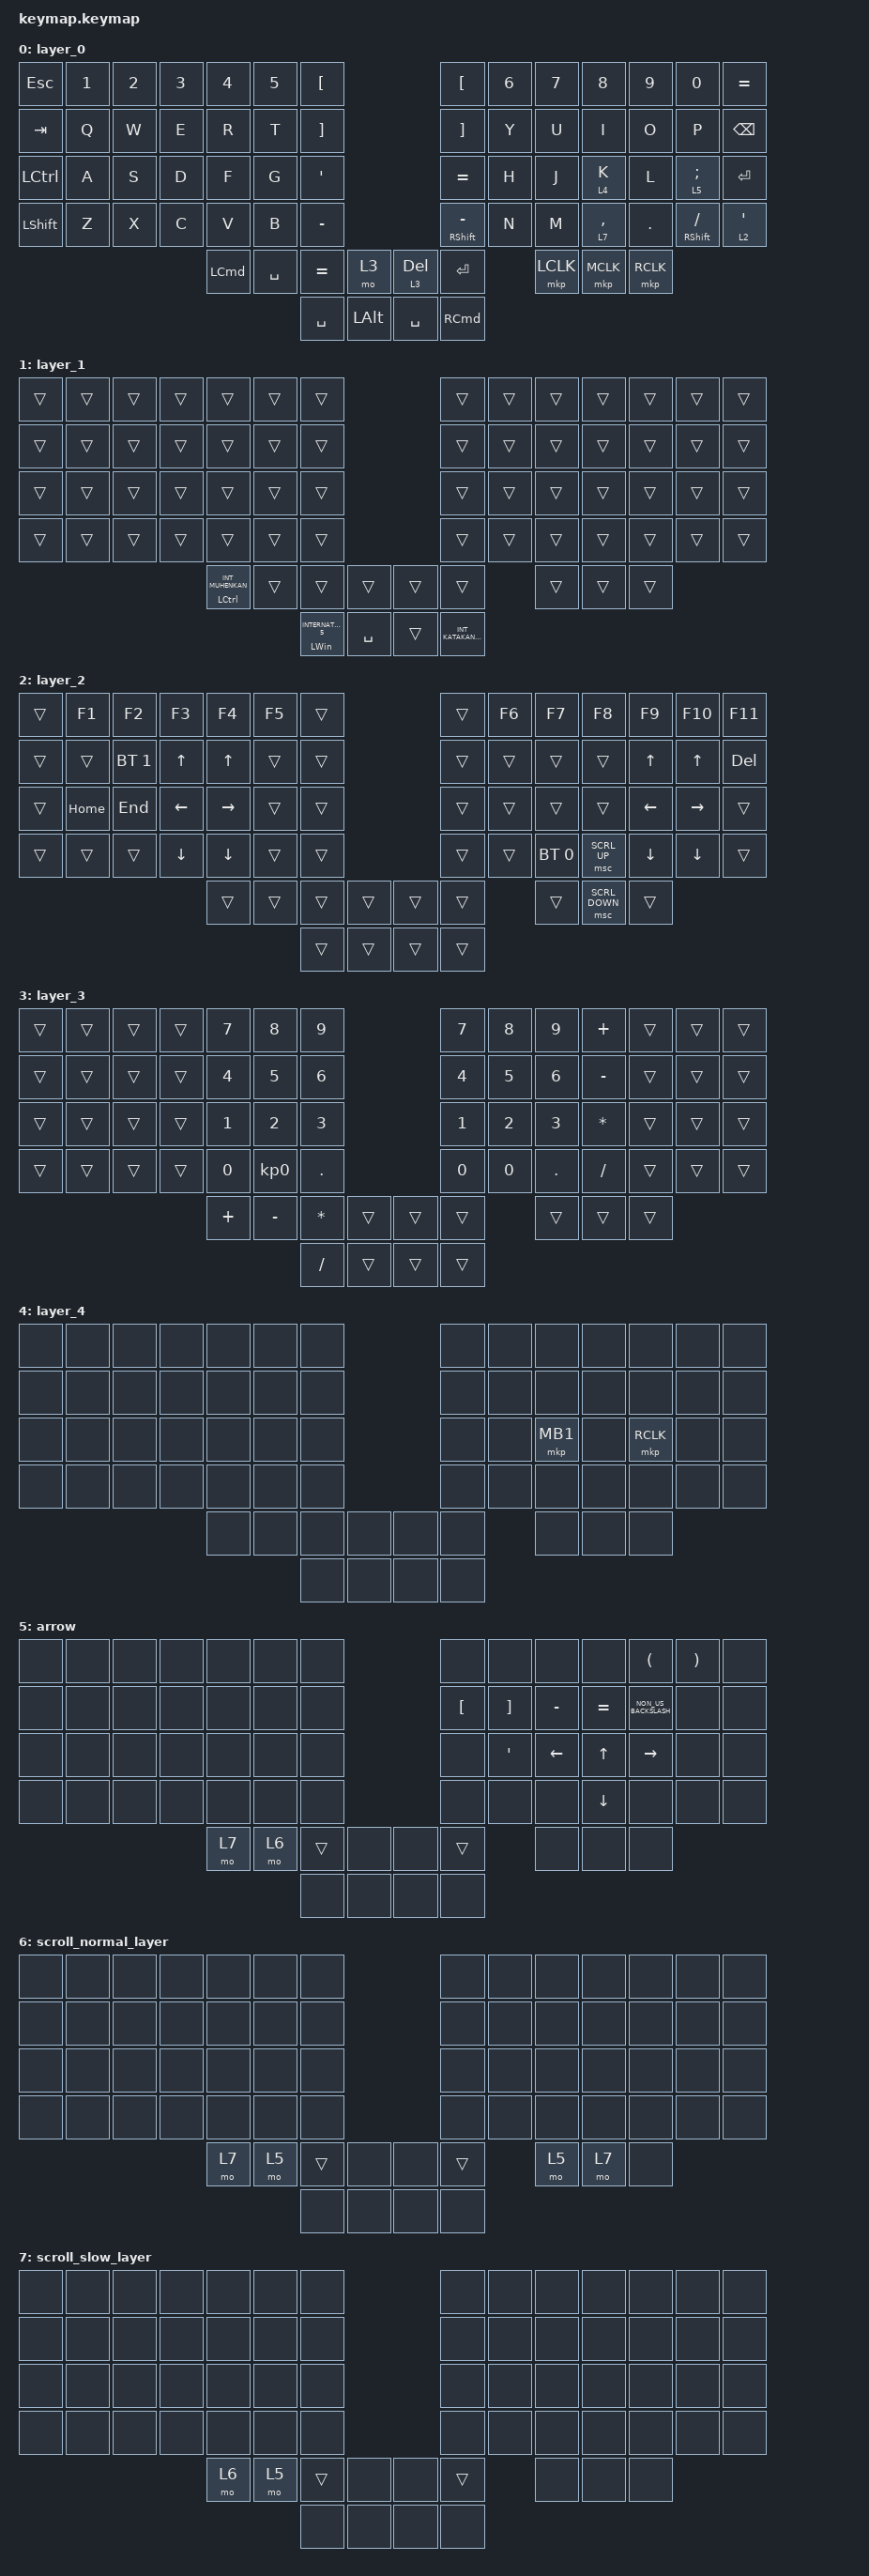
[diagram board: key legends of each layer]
#define ZMK_POINTING_DEFAULT_MOVE_VAL 800
#define ZMK_POINTING_DEFAULT_SCRL_VAL 120

#include <input/processors.dtsi>
#include <zephyr/dt-bindings/input/input-event-codes.h>
#include <behaviors.dtsi>
#include <dt-bindings/zmk/bt.h>
#include <dt-bindings/zmk/keys.h>
#include <dt-bindings/zmk/pointing.h>

#define SCROLL_FAST 5
#define SCROLL_NORMAL 6
#define SCROLL_SLOW 7

&mmv {
    delay-ms = <0>;
    trigger-period-ms = <10>;
    time-to-max-speed-ms = <0>;
    acceleration-exponent = <1>;
};

&msc {
    delay-ms = <0>;
    trigger-period-ms = <10>;
    time-to-max-speed-ms = <0>;
    acceleration-exponent = <0>;
};

/ {
    input_processors {
        zip_wheel_scaler: zip_wheel_scaler {
            compatible = "zmk,input-processor-scaler";
            #input-processor-cells = <2>;
            type = <INPUT_EV_REL>;
            codes = <INPUT_REL_WHEEL>;
            track-remainders;
        };

        zip_hwheel_scaler: zip_hwheel_scaler {
            compatible = "zmk,input-processor-scaler";
            #input-processor-cells = <2>;
            type = <INPUT_EV_REL>;
            codes = <INPUT_REL_HWHEEL>;
            track-remainders;
        };

        zip_wheel_scaler_normal: zip_wheel_scaler_normal {
            compatible = "zmk,input-processor-scaler";
            #input-processor-cells = <2>;
            type = <INPUT_EV_REL>;
            codes = <INPUT_REL_WHEEL>;
            track-remainders;
        };

        zip_hwheel_scaler_normal: zip_hwheel_scaler_normal {
            compatible = "zmk,input-processor-scaler";
            #input-processor-cells = <2>;
            type = <INPUT_EV_REL>;
            codes = <INPUT_REL_HWHEEL>;
            track-remainders;
        };

        zip_wheel_scaler_slow: zip_wheel_scaler_slow {
            compatible = "zmk,input-processor-scaler";
            #input-processor-cells = <2>;
            type = <INPUT_EV_REL>;
            codes = <INPUT_REL_WHEEL>;
            track-remainders;
        };

        zip_hwheel_scaler_slow: zip_hwheel_scaler_slow {
            compatible = "zmk,input-processor-scaler";
            #input-processor-cells = <2>;
            type = <INPUT_EV_REL>;
            codes = <INPUT_REL_HWHEEL>;
            track-remainders;
        };
    };

    behaviors {
        mouse_scrl: mouse_wheel_scrl {
            compatible = "zmk,behavior-sensor-rotate-var";
            #sensor-binding-cells = <2>;
            bindings = <&msc>, <&msc>;

            tap-ms = <10>;
        };
    };

    combos {
        compatible = "zmk,combos";

        Windows {
            bindings = <&to 1>;
            key-positions = <42 16>;
            layers = <0 1>;
        };

        Mac {
            bindings = <&to 0>;
            key-positions = <42 51>;
        };
    };

    keymap {
        compatible = "zmk,keymap";

        layer_0 {
            bindings = <
&kp ESCAPE      &kp NUMBER_1  &kp NUMBER_2  &kp NUMBER_3  &kp NUMBER_4      &kp N5     &kp LEFT_BRACKET                               &kp LEFT_BRACKET       &kp NUMBER_6  &kp N7     &kp N8       &kp N9      &kp N0                 &kp EQUAL
&kp TAB         &kp Q         &kp W         &kp E         &kp R             &kp T      &kp RIGHT_BRACKET                              &kp RIGHT_BRACKET      &kp Y         &kp U      &kp I        &kp O       &kp P                  &kp BACKSPACE
&kp LCTRL       &kp A         &kp S         &kp D         &kp F             &kp G      &kp SQT                                        &kp EQUAL              &kp H         &kp J      &lt 4 K      &kp L       &lt 5 SEMICOLON        &kp ENTER
&kp LEFT_SHIFT  &kp Z         &kp X         &kp C         &kp V             &kp B      &kp MINUS                                      &mt RIGHT_SHIFT MINUS  &kp N         &kp M      &lt 7 COMMA  &kp PERIOD  &mt RIGHT_SHIFT SLASH  &lt 2 SQT
                                                          &kp LEFT_COMMAND  &kp SPACE  &kp EQUAL          &mo 3         &lt 3 DELETE  &kp ENTER                            &mkp LCLK  &mkp MCLK    &mkp RCLK
                                                                                       &kp SPACE          &kp LEFT_ALT  &kp SPACE     &kp RIGHT_COMMAND
            >;
        };

        layer_1 {
            bindings = <
&trans  &trans  &trans  &trans  &trans                  &trans  &trans                                           &trans                    &trans  &trans  &trans  &trans  &trans  &trans
&trans  &trans  &trans  &trans  &trans                  &trans  &trans                                           &trans                    &trans  &trans  &trans  &trans  &trans  &trans
&trans  &trans  &trans  &trans  &trans                  &trans  &trans                                           &trans                    &trans  &trans  &trans  &trans  &trans  &trans
&trans  &trans  &trans  &trans  &trans                  &trans  &trans                                           &trans                    &trans  &trans  &trans  &trans  &trans  &trans
                                &mt LCTRL INT_MUHENKAN  &trans  &trans                        &trans     &trans  &trans                            &trans  &trans  &trans
                                                                &mt LEFT_WIN INTERNATIONAL_5  &kp SPACE  &trans  &kp INT_KATAKANAHIRAGANA
            >;
        };

        layer_2 {
            bindings = <
&trans  &kp F1    &kp F2        &kp F3          &kp F4           &kp F5  &trans                  &trans  &kp F6  &kp F7        &kp F8          &kp F9          &kp F10          &kp F11
&trans  &trans    &bt BT_SEL 1  &kp UP_ARROW    &kp UP_ARROW     &trans  &trans                  &trans  &trans  &trans        &trans          &kp UP_ARROW    &kp UP_ARROW     &kp DELETE
&trans  &kp HOME  &kp END       &kp LEFT_ARROW  &kp RIGHT_ARROW  &trans  &trans                  &trans  &trans  &trans        &trans          &kp LEFT_ARROW  &kp RIGHT_ARROW  &trans
&trans  &trans    &trans        &kp DOWN_ARROW  &kp DOWN_ARROW   &trans  &trans                  &trans  &trans  &bt BT_SEL 0  &msc SCRL_UP    &kp DOWN_ARROW  &kp DOWN_ARROW   &trans
                                                &trans           &trans  &trans  &trans  &trans  &trans          &trans        &msc SCRL_DOWN  &trans
                                                                         &trans  &trans  &trans  &trans
            >;
        };

        layer_3 {
            bindings = <
&trans  &trans  &trans  &trans  &kp N7        &kp N8           &kp N9                        &kp N7        &kp N8        &kp N9        &kp PLUS      &trans  &trans  &trans
&trans  &trans  &trans  &trans  &kp NUMBER_4  &kp N5           &kp NUMBER_6                  &kp NUMBER_4  &kp N5        &kp NUMBER_6  &kp MINUS     &trans  &trans  &trans
&trans  &trans  &trans  &trans  &kp NUMBER_1  &kp NUMBER_2     &kp NUMBER_3                  &kp NUMBER_1  &kp NUMBER_2  &kp NUMBER_3  &kp ASTERISK  &trans  &trans  &trans
&trans  &trans  &trans  &trans  &kp N0        &kp KP_NUMBER_0  &kp PERIOD                    &kp N0        &kp N0        &kp PERIOD    &kp SLASH     &trans  &trans  &trans
                                &kp PLUS      &kp MINUS        &kp STAR      &trans  &trans  &trans                      &trans        &trans        &trans
                                                               &kp SLASH     &trans  &trans  &trans
            >;
        };

        layer_4 {
            bindings = <
&none  &none  &none  &none  &none  &none  &none                &none  &none  &none     &none  &none      &none  &none
&none  &none  &none  &none  &none  &none  &none                &none  &none  &none     &none  &none      &none  &none
&none  &none  &none  &none  &none  &none  &none                &none  &none  &mkp MB1  &none  &mkp RCLK  &none  &none
&none  &none  &none  &none  &none  &none  &none                &none  &none  &none     &none  &none      &none  &none
                            &none  &none  &none  &none  &none  &none         &none     &none  &none
                                          &none  &none  &none  &none
            >;
        };

        arrow {
            bindings = <
&none  &none  &none  &none  &none  &none  &none                 &none             &none              &none           &none           &kp LEFT_PARENTHESIS  &kp RIGHT_PARENTHESIS  &none
&none  &none  &none  &none  &none  &none  &none                 &kp LEFT_BRACKET  &kp RIGHT_BRACKET  &kp MINUS       &kp EQUAL       &kp NON_US_BACKSLASH  &none                  &none
&none  &none  &none  &none  &none  &none  &none                 &none             &kp SQT            &kp LEFT_ARROW  &kp UP_ARROW    &kp RIGHT_ARROW       &none                  &none
&none  &none  &none  &none  &none  &none  &none                 &none             &none              &none           &kp DOWN_ARROW  &none                 &none                  &none
                            &mo 7  &mo 6  &trans  &none  &none  &trans                               &none           &none           &none
                                          &none   &none  &none  &none
            >;
        };

        scroll_normal_layer {
            bindings = <
&none  &none  &none  &none  &none  &none  &none                 &none   &none  &none  &none  &none  &none  &none
&none  &none  &none  &none  &none  &none  &none                 &none   &none  &none  &none  &none  &none  &none
&none  &none  &none  &none  &none  &none  &none                 &none   &none  &none  &none  &none  &none  &none
&none  &none  &none  &none  &none  &none  &none                 &none   &none  &none  &none  &none  &none  &none
                            &mo 7  &mo 5  &trans  &none  &none  &trans         &mo 5  &mo 7  &none
                                          &none   &none  &none  &none
            >;
        };

        scroll_slow_layer {
            bindings = <
&none  &none  &none  &none  &none  &none  &none                 &none   &none  &none  &none  &none  &none  &none
&none  &none  &none  &none  &none  &none  &none                 &none   &none  &none  &none  &none  &none  &none
&none  &none  &none  &none  &none  &none  &none                 &none   &none  &none  &none  &none  &none  &none
&none  &none  &none  &none  &none  &none  &none                 &none   &none  &none  &none  &none  &none  &none
                            &mo 6  &mo 5  &trans  &none  &none  &trans         &none  &none  &none
                                          &none   &none  &none  &none
            >;
        };
    };
};
